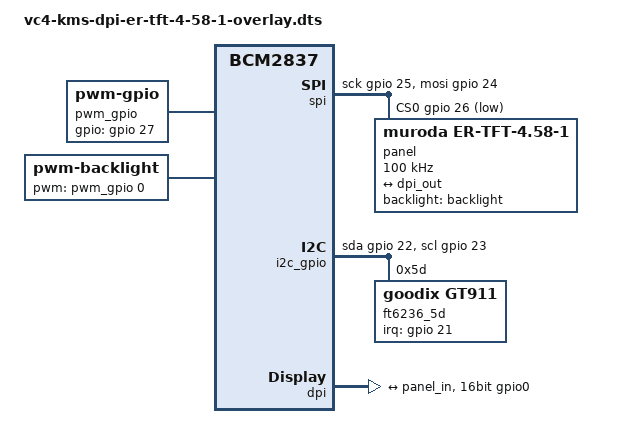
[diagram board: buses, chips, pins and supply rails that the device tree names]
/*
 * vc4-kms-dpi-er_tft_4_58_1.dts
 */

/dts-v1/;
/plugin/;

#include <dt-bindings/gpio/gpio.h>
#include <dt-bindings/pinctrl/bcm2835.h>

/ {
	compatible = "brcm,bcm2837";

	fragment@0 {
		target-path = "/";
		__overlay__ {
			pwm_gpio: pwm_gpio@27 {
				#pwm-cells = <3>;
				compatible = "pwm-gpio";
				pinctrl-names = "default";
				pinctrl-0 = <&pwm_gpio_pins>;
				gpios = <&gpio 27 0>;
				status = "okay";
			};
		};
	};

	fragment@1 {
		target-path = "/";
		__overlay__ {

			backlight: backlight {
				compatible = "pwm-backlight";
				pwms = <&pwm_gpio 0 5000000 0>;
		
				brightness-levels = <0 4 8 16 32 64 128 255>;
				default-brightness-level = <3>;
		
				// post-pwm-on-delay-ms = <10>;
				// pwm-off-delay-ms = <10>;
			};

			spi {
				compatible = "spi-gpio";
				#address-cells = <1>;
				#size-cells = <0>;
				pinctrl-0 = <&spi_pins>;
				pinctrl-names = "default";

				sck-gpios = <&gpio 25 GPIO_ACTIVE_HIGH>;
				mosi-gpios = <&gpio 24 GPIO_ACTIVE_HIGH>;
				cs-gpios = <&gpio 26 GPIO_ACTIVE_LOW>;
				num-chipselects = <1>;
				sck-idle-input;

				panel: display@0 {
					reg = <0>;
					/* 100 kHz */
					spi-max-frequency = <100000>;
					backlight = <&backlight>;
					rotation = <90>;

					compatible = "muroda,er-tft-4.58-1";

					port {
						panel_in: endpoint {
							remote-endpoint = <&dpi_out>;
						};
					};
				};
			};
		};
	};

	fragment@2 {
		target = <&dpi>;
		__overlay__  {
			status = "okay";

			pinctrl-names = "default";
			pinctrl-0 = <&dpi_16bit_gpio0>;

			port {
				dpi_out: endpoint {
					remote-endpoint = <&panel_in>;
				};
			};
		};
	};

	fragment@3 {
		target = <&gpio>;
		__overlay__ {
			spi_pins: er_tft_4_58_1_spi_pins {
				brcm,pins = <25 26 24>;
				brcm,pull = <BCM2835_PUD_UP BCM2835_PUD_UP BCM2835_PUD_OFF>;
				brcm,function = <0>;
			};
		};
	};

	fragment@4 {
		target-path = "/";
		__overlay__ {
			i2c_gpio: i2c@0 {
				compatible = "i2c-gpio";
				gpios = <&gpio 22 0 /* sda */
					 &gpio 23 0>; /* scl */
				i2c-gpio,delay-us = <4>;        /* ~100 kHz */
				#address-cells = <1>;
				#size-cells = <0>;
			};
		};
	};

	fragment@5 {
		target = <&gpio>;
		__overlay__ {
			pwm_gpio_pins: pwm_gpio_pins@27 {
				brcm,pins = <27>; /* gpio 4 */
				brcm,function = <1>; /* output */
				brcm,pull = <0>; /* pull-none */
			};
		};
	};


	fragment@6 {
		target = <&i2c_gpio>;
		__overlay__ {
			/* needed to avoid dtc warning */
			#address-cells = <1>;
			#size-cells = <0>;
			ft6236_5d: ft6236@5d {
				compatible = "goodix,gt911";
				reg = <0x5d>;
				interrupt-parent = <&gpio>;
				interrupts = <21 2>;
				touchscreen-size-x = <320>;
				touchscreen-size-y = <960>;
				touchscreen-x-mm = <37>;
				touchscreen-y-mm = <110>;
				// touchscreen-inverted-y;
				// touchscreen-swapped-x-y;
			};
		};
	};


	fragment@7 {
        target = <&i2c_arm>;
        __overlay__ {
            status = "disabled";
        };
    };

    fragment@8 {
        target-path = "/aliases";
        __overlay__ {
            i2c_gpio = "/i2c@0";
        };
    };

    fragment@9 {
        target-path = "/__symbols__";
        __overlay__ {
            i2c_gpio = "/i2c@0";
        };
    };

	
	__overrides__ {
		gpio = <&pwm_gpio>,"gpios:27",
		       <&pwm_gpio_pins>,"brcm,pins:0",
		       /* modify reg values to allow multiple instantiation */
		       <&pwm_gpio>,"reg:0",
		       <&pwm_gpio_pins>,"reg:0";

		rotate = <&panel>, "rotation:90";
	};
};
